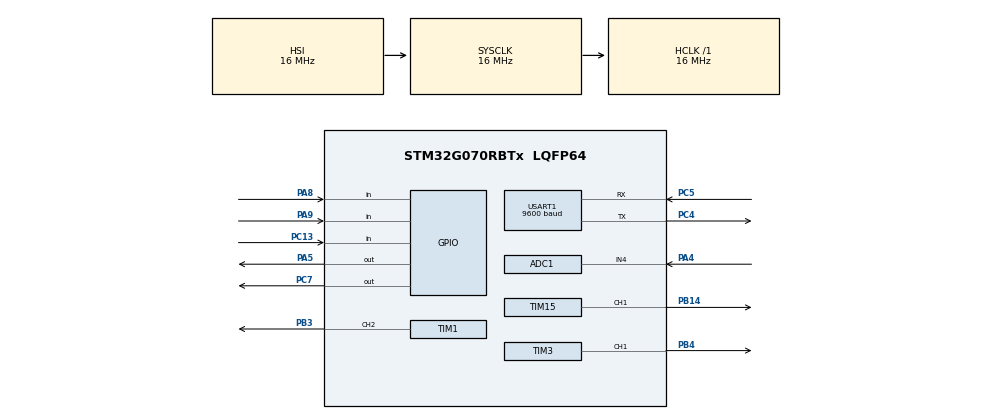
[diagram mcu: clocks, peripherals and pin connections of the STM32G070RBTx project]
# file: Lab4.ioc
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ADC1.Channel-0\#ChannelRegularConversion=ADC_CHANNEL_4
ADC1.NbrOfConversionFlag=1
ADC1.Rank-0\#ChannelRegularConversion=1
ADC1.SamplingTime-0\#ChannelRegularConversion=ADC_SAMPLINGTIME_COMMON_1
ADC1.SelectedChannel=ADC_CHANNEL_4
ADC1.master=1
Mcu.Family=STM32G0
Mcu.Name=STM32G070RBTx
Mcu.Package=LQFP64
NVIC.ADC1_IRQn=true\:0\:0\:false\:false\:true\:true\:true
NVIC.USART1_IRQn=true\:0\:0\:false\:false\:true\:true\:true
PA4.Mode=IN4
PA4.Signal=ADC1_IN4
PA5.Signal=GPIO_Output
PA8.Signal=GPIO_Input
PA9.Signal=GPIO_Input
PB14.Signal=S_TIM15_CH1
PB3.Signal=S_TIM1_CH2
PB4.Signal=S_TIM3_CH1
PC13.Signal=GPIO_Input
PC4.Mode=Asynchronous
PC4.Signal=USART1_TX
PC5.Mode=Asynchronous
PC5.Signal=USART1_RX
PC7.Signal=GPIO_Output
ProjectManager.HeapSize=0x200
ProjectManager.StackSize=0x400
ProjectManager.TargetToolchain=EWARM V8.32
RCC.AHBFreq_Value=16000000
RCC.CortexFreq_Value=16000000
RCC.EXTERNAL_CLOCK_VALUE=48000
RCC.HCLKFreq_Value=16000000
RCC.HSE_VALUE=8000000
RCC.HSI_VALUE=16000000
RCC.LSE_VALUE=32768
RCC.SYSCLKFreq_VALUE=16000000
RCC.VCOOutputFreq_Value=128000000
SH.S_TIM15_CH1.0=TIM15_CH1,PWM Generation1 CH1
SH.S_TIM1_CH2.0=TIM1_CH2,PWM Generation2 CH2
SH.S_TIM3_CH1.0=TIM3_CH1,PWM Generation1 CH1
TIM1.Channel-PWM\ Generation2\ CH2=TIM_CHANNEL_2
TIM15.Channel-PWM\ Generation1\ CH1=TIM_CHANNEL_1
TIM3.Channel-PWM\ Generation1\ CH1=TIM_CHANNEL_1
USART1.BaudRate=9600
USART1.VirtualMode-Asynchronous=VM_ASYNC
VP_SYS_VS_DBSignals.Mode=DisableDeadBatterySignals
VP_TIM15_VS_ClockSourceINT.Mode=Internal
VP_TIM1_VS_ClockSourceINT.Mode=Internal
VP_TIM3_VS_ClockSourceINT.Mode=Internal
board=custom

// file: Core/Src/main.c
/* USER CODE BEGIN Header */
/**
  ******************************************************************************
  * @file           : main.c
  * @brief          : Main program body
  ******************************************************************************
  * @attention
  *
  * <h2><center>&copy; Copyright (c) 2021 STMicroelectronics.
  * All rights reserved.</center></h2>
  *
  * This software component is licensed by ST under BSD 3-Clause license,
  * the "License"; You may not use this file except in compliance with the
  * License. You may obtain a copy of the License at:
  *                        opensource.org/licenses/BSD-3-Clause
  *
  ******************************************************************************
  */
/* USER CODE END Header */
#include "main.h"

/* USER CODE BEGIN Includes */
#include "KeyboardHoldRepeat.h"
#include "waveform_16.h"
#include "serial.h"
#include "serial_user.h"
#include "ASCII_numbers.h"
#include "stm32g0xx_ll_usart.h"

/* USER CODE END Includes */

/* USER CODE BEGIN PD */
#define LED_STEP                4
#define LED_OFF_STATE           3
#define LED_HALF_DUTY_VALUE     32767
/* USER CODE END PD */

ADC_HandleTypeDef hadc1;

TIM_HandleTypeDef htim1;
TIM_HandleTypeDef htim3;
TIM_HandleTypeDef htim15;

UART_HandleTypeDef huart1;

/* USER CODE BEGIN PV */
// scheduler stuff
extern uint8_t ten_mS_Flag;
extern uint8_t twentyfive_mS_Flag;
extern uint8_t hundred_mS_Flag;
extern uint8_t one_S_Flag;

// Comm interface
extern uint8_t processPacket;

// system variables
volatile uint16_t serialValue = 23;

// UI
uint8_t flashLED = false;
uint8_t buttonPushed = false;
uint16_t flashDelay = 1000;
uint16_t flashDelaySeed = 1000;
uint8_t flashAtSpeed = false;
uint16_t number = 43;
uint8_t errcode = 0;

// LED Control
TIM_OC_InitTypeDef rConfigOC = {0}; // timer 1
TIM_OC_InitTypeDef gConfigOC = {0}; // timer 3
TIM_OC_InitTypeDef bConfigOC = {0}; // timer 15

//#define LED_RAMP_TABLE half_sine_table_16_256
//#define LED_RAMP_TABLE linear_ramp_table_16_256
#define LED_RAMP_TABLE triangle_wave_table_16_256
#define R_INDEX_START 0
#define G_INDEX_START 86
#define B_INDEX_START 172
uint8_t rIndex = R_INDEX_START;
uint8_t gIndex = G_INDEX_START;
uint8_t bIndex = B_INDEX_START;
uint8_t rampRed = false;
uint8_t rampGreen = false;
uint8_t rampBlue = false;
uint8_t led_state = LED_OFF_STATE;          // Set led_state variable to be in off state upon startup
uint8_t greenPause_flag = false;
uint8_t bluePause_flag = false;
uint8_t customValue_flag = false;

uint16_t ledValue = 0;
uint16_t redValue = 0;
uint16_t greenValue = 0;
uint16_t blueValue = 0;

// Keyboard
uint8_t keyCode = NO_KEY_PRESSED;

/* USER CODE END PV */

void SystemClock_Config(void);
static void MX_GPIO_Init(void);
static void MX_ADC1_Init(void);
static void MX_TIM1_Init(void);
static void MX_TIM3_Init(void);
static void MX_TIM15_Init(void);
static void MX_USART1_UART_Init(void);
/* USER CODE BEGIN PFP */
void InitValuesPWM(void);
void SetRedLedLevel(uint16_t r_level);
void SetGreenLedLevel(uint16_t g_level);
void SetBlueLedLevel(uint16_t b_level);
/* USER CODE END PFP */

int main(void)
{

  /* MCU Configuration--------------------------------------------------------*/

  /* Reset of all peripherals, Initializes the Flash interface and the Systick. */
  HAL_Init();

  /* Configure the system clock */
  SystemClock_Config();

  /* Initialize all configured peripherals */
  MX_GPIO_Init();
  MX_ADC1_Init();
  MX_TIM1_Init();
  MX_TIM3_Init();
  MX_TIM15_Init();
  MX_USART1_UART_Init();
  /* USER CODE BEGIN 2 */
  LL_USART_EnableIT_RXNE_RXFNE(USART1);
  SendString("\r\nBongiorno!\r\n", 14, StripZeros, AddCRLF);
  //HAL_UART_Transmit(&huart1,"Mornin'!\r\n", 10, 1000);
  void InitValuesPWM(void);

  HAL_TIM_PWM_Start_IT(&htim15, TIM_CHANNEL_1);
  HAL_TIM_PWM_Start_IT(&htim3, TIM_CHANNEL_1);
  HAL_TIM_PWM_Start_IT(&htim1, TIM_CHANNEL_2);

  /* USER CODE END 2 */

  /* Infinite loop */
  /* USER CODE BEGIN WHILE */
  while (1)
  {
    //---------------------------------
    // 10mS Tasks
    if (ten_mS_Flag) {
      ten_mS_Flag = false;

    }  // end of 10mS Tasks
    //---------------------------------

    //---------------------------------
    // 25mS Tasks
    if (twentyfive_mS_Flag) {
      twentyfive_mS_Flag = false;

      keyCode = ScanKeyboard();
      DebounceKeyCode(keyCode);

      // If we've gotten a valid debounced keyCode, process it
      if (processKeyCode == true) {
        ProcessKeyCode(keyCode);
      }

    }  // end of 25mS Tasks
    //---------------------------------

    //---------------------------------
    // 100mS Tasks
    if (hundred_mS_Flag) {
      hundred_mS_Flag = false;

      HAL_ADC_Start_IT(&hadc1);

      if (rampRed == true) {
        if(customValue_flag) {SetRedLedLevel(ledValue);}
        else if(led_state == 0) {    // Normal cycling
          SetRedLedLevel(LED_RAMP_TABLE[rIndex]);
          rIndex += LED_STEP;
        }
      }

      if (rampGreen == true) {
        if(greenPause_flag == true) {SetGreenLedLevel(LED_RAMP_TABLE[gIndex]);} // Hold value if pausing LED
        else if(customValue_flag) {SetGreenLedLevel(ledValue);}
        else if(led_state == 0) {    // Normal cycling
          SetGreenLedLevel(LED_RAMP_TABLE[gIndex]);
          gIndex += LED_STEP;
        }
      }

      if (rampBlue == true) {
        if(bluePause_flag == true) {SetBlueLedLevel(LED_RAMP_TABLE[bIndex]);} // Hold value if pausing LED
        else if(customValue_flag) {SetBlueLedLevel(ledValue);}
        else if(led_state == 0) {    // Normal cycling
          SetBlueLedLevel(LED_RAMP_TABLE[bIndex]);
          bIndex += LED_STEP;
        }
      }

    }  // end of 100mS Tasks
    //---------------------------------

    //---------------------------------
    // 1 Sec Tasks
    if (one_S_Flag) {
      one_S_Flag = false;

    } // end of 1Sec Tasks
    //---------------------------------

    //---------------------------------
    // Every time through the loop

    switch(led_state){
    case 0:     // All LEDs cycling
      rampRed = true;
      rampGreen = true;
      rampBlue = true;
      break;
    case 1:     // All LEDs stop cycling
      rampRed = false;
      rampGreen = false;
      rampBlue = false;
      break;
    case 2:     // All LEDs at 50% duty cycle
      rampRed = false;
      rampGreen = false;
      rampBlue = false;
      SetRedLedLevel(32767);
      SetGreenLedLevel(32767);
      SetBlueLedLevel(32767);
      break;
    case 3:     // All LEDs off
      rampRed = false;
      rampGreen = false;
      rampBlue = false;
      SetRedLedLevel(0);
      SetGreenLedLevel(0);
      SetBlueLedLevel(0);
      break;
    default:
      break;
    }

    if (nextSerialRxIn != nextSerialRx2Proc) {
      ProcessReceiveBuffer();
    }

    if (processPacket == true) {
      processPacket = false;

      ProcessPacket();
    }
    // end Every time through the loop
    //---------------------------------

    /* USER CODE END WHILE */

  }
}

void SystemClock_Config(void)
{
  RCC_OscInitTypeDef RCC_OscInitStruct = {0};
  RCC_ClkInitTypeDef RCC_ClkInitStruct = {0};
  RCC_PeriphCLKInitTypeDef PeriphClkInit = {0};

  /** Configure the main internal regulator output voltage
  */
  HAL_PWREx_ControlVoltageScaling(PWR_REGULATOR_VOLTAGE_SCALE1);
  /** Initializes the RCC Oscillators according to the specified parameters
  * in the RCC_OscInitTypeDef structure.
  */
  RCC_OscInitStruct.OscillatorType = RCC_OSCILLATORTYPE_HSI;
  RCC_OscInitStruct.HSIState = RCC_HSI_ON;
  RCC_OscInitStruct.HSIDiv = RCC_HSI_DIV1;
  RCC_OscInitStruct.HSICalibrationValue = RCC_HSICALIBRATION_DEFAULT;
  RCC_OscInitStruct.PLL.PLLState = RCC_PLL_NONE;
  if (HAL_RCC_OscConfig(&RCC_OscInitStruct) != HAL_OK)
  {
    Error_Handler();
  }
  /** Initializes the CPU, AHB and APB buses clocks
  */
  RCC_ClkInitStruct.ClockType = RCC_CLOCKTYPE_HCLK|RCC_CLOCKTYPE_SYSCLK
                              |RCC_CLOCKTYPE_PCLK1;
  RCC_ClkInitStruct.SYSCLKSource = RCC_SYSCLKSOURCE_HSI;
  RCC_ClkInitStruct.AHBCLKDivider = RCC_SYSCLK_DIV1;
  RCC_ClkInitStruct.APB1CLKDivider = RCC_HCLK_DIV1;

  if (HAL_RCC_ClockConfig(&RCC_ClkInitStruct, FLASH_LATENCY_0) != HAL_OK)
  {
    Error_Handler();
  }
  /** Initializes the peripherals clocks
  */
  PeriphClkInit.PeriphClockSelection = RCC_PERIPHCLK_USART1|RCC_PERIPHCLK_ADC;
  PeriphClkInit.Usart1ClockSelection = RCC_USART1CLKSOURCE_PCLK1;
  PeriphClkInit.AdcClockSelection = RCC_ADCCLKSOURCE_SYSCLK;
  if (HAL_RCCEx_PeriphCLKConfig(&PeriphClkInit) != HAL_OK)
  {
    Error_Handler();
  }
}

static void MX_ADC1_Init(void)
{

  ADC_ChannelConfTypeDef sConfig = {0};

  /** Configure the global features of the ADC (Clock, Resolution, Data Alignment and number of conversion)
  */
  hadc1.Instance = ADC1;
  hadc1.Init.ClockPrescaler = ADC_CLOCK_SYNC_PCLK_DIV2;
  hadc1.Init.Resolution = ADC_RESOLUTION_12B;
  hadc1.Init.DataAlign = ADC_DATAALIGN_RIGHT;
  hadc1.Init.ScanConvMode = ADC_SCAN_DISABLE;
  hadc1.Init.EOCSelection = ADC_EOC_SINGLE_CONV;
  hadc1.Init.LowPowerAutoWait = DISABLE;
  hadc1.Init.LowPowerAutoPowerOff = DISABLE;
  hadc1.Init.ContinuousConvMode = DISABLE;
  hadc1.Init.NbrOfConversion = 1;
  hadc1.Init.DiscontinuousConvMode = DISABLE;
  hadc1.Init.ExternalTrigConv = ADC_SOFTWARE_START;
  hadc1.Init.ExternalTrigConvEdge = ADC_EXTERNALTRIGCONVEDGE_NONE;
  hadc1.Init.DMAContinuousRequests = DISABLE;
  hadc1.Init.Overrun = ADC_OVR_DATA_PRESERVED;
  hadc1.Init.SamplingTimeCommon1 = ADC_SAMPLETIME_1CYCLE_5;
  hadc1.Init.SamplingTimeCommon2 = ADC_SAMPLETIME_1CYCLE_5;
  hadc1.Init.OversamplingMode = DISABLE;
  hadc1.Init.TriggerFrequencyMode = ADC_TRIGGER_FREQ_HIGH;
  if (HAL_ADC_Init(&hadc1) != HAL_OK)
  {
    Error_Handler();
  }
  /** Configure Regular Channel
  */
  sConfig.Channel = ADC_CHANNEL_4;
  sConfig.Rank = ADC_REGULAR_RANK_1;
  sConfig.SamplingTime = ADC_SAMPLINGTIME_COMMON_1;
  if (HAL_ADC_ConfigChannel(&hadc1, &sConfig) != HAL_OK)
  {
    Error_Handler();
  }

}

static void MX_TIM1_Init(void)
{

  TIM_ClockConfigTypeDef sClockSourceConfig = {0};
  TIM_MasterConfigTypeDef sMasterConfig = {0};
  TIM_OC_InitTypeDef sConfigOC = {0};
  TIM_BreakDeadTimeConfigTypeDef sBreakDeadTimeConfig = {0};

  htim1.Instance = TIM1;
  htim1.Init.Prescaler = 0;
  htim1.Init.CounterMode = TIM_COUNTERMODE_UP;
  htim1.Init.Period = 65535;
  htim1.Init.ClockDivision = TIM_CLOCKDIVISION_DIV1;
  htim1.Init.RepetitionCounter = 0;
  htim1.Init.AutoReloadPreload = TIM_AUTORELOAD_PRELOAD_DISABLE;
  if (HAL_TIM_Base_Init(&htim1) != HAL_OK)
  {
    Error_Handler();
  }
  sClockSourceConfig.ClockSource = TIM_CLOCKSOURCE_INTERNAL;
  if (HAL_TIM_ConfigClockSource(&htim1, &sClockSourceConfig) != HAL_OK)
  {
    Error_Handler();
  }
  if (HAL_TIM_PWM_Init(&htim1) != HAL_OK)
  {
    Error_Handler();
  }
  sMasterConfig.MasterOutputTrigger = TIM_TRGO_RESET;
  sMasterConfig.MasterOutputTrigger2 = TIM_TRGO2_RESET;
  sMasterConfig.MasterSlaveMode = TIM_MASTERSLAVEMODE_DISABLE;
  if (HAL_TIMEx_MasterConfigSynchronization(&htim1, &sMasterConfig) != HAL_OK)
  {
    Error_Handler();
  }
  sConfigOC.OCMode = TIM_OCMODE_PWM1;
  sConfigOC.Pulse = 0;
  sConfigOC.OCPolarity = TIM_OCPOLARITY_HIGH;
  sConfigOC.OCNPolarity = TIM_OCNPOLARITY_HIGH;
  sConfigOC.OCFastMode = TIM_OCFAST_DISABLE;
  sConfigOC.OCIdleState = TIM_OCIDLESTATE_RESET;
  sConfigOC.OCNIdleState = TIM_OCNIDLESTATE_RESET;
  if (HAL_TIM_PWM_ConfigChannel(&htim1, &sConfigOC, TIM_CHANNEL_2) != HAL_OK)
  {
    Error_Handler();
  }
  sBreakDeadTimeConfig.OffStateRunMode = TIM_OSSR_DISABLE;
  sBreakDeadTimeConfig.OffStateIDLEMode = TIM_OSSI_DISABLE;
  sBreakDeadTimeConfig.LockLevel = TIM_LOCKLEVEL_OFF;
  sBreakDeadTimeConfig.DeadTime = 0;
  sBreakDeadTimeConfig.BreakState = TIM_BREAK_DISABLE;
  sBreakDeadTimeConfig.BreakPolarity = TIM_BREAKPOLARITY_HIGH;
  sBreakDeadTimeConfig.BreakFilter = 0;
  sBreakDeadTimeConfig.BreakAFMode = TIM_BREAK_AFMODE_INPUT;
  sBreakDeadTimeConfig.Break2State = TIM_BREAK2_DISABLE;
  sBreakDeadTimeConfig.Break2Polarity = TIM_BREAK2POLARITY_HIGH;
  sBreakDeadTimeConfig.Break2Filter = 0;
  sBreakDeadTimeConfig.Break2AFMode = TIM_BREAK_AFMODE_INPUT;
  sBreakDeadTimeConfig.AutomaticOutput = TIM_AUTOMATICOUTPUT_DISABLE;
  if (HAL_TIMEx_ConfigBreakDeadTime(&htim1, &sBreakDeadTimeConfig) != HAL_OK)
  {
    Error_Handler();
  }
  HAL_TIM_MspPostInit(&htim1);

}

static void MX_TIM3_Init(void)
{

  TIM_ClockConfigTypeDef sClockSourceConfig = {0};
  TIM_MasterConfigTypeDef sMasterConfig = {0};
  TIM_OC_InitTypeDef sConfigOC = {0};

  htim3.Instance = TIM3;
  htim3.Init.Prescaler = 0;
  htim3.Init.CounterMode = TIM_COUNTERMODE_UP;
  htim3.Init.Period = 65535;
  htim3.Init.ClockDivision = TIM_CLOCKDIVISION_DIV1;
  htim3.Init.AutoReloadPreload = TIM_AUTORELOAD_PRELOAD_DISABLE;
  if (HAL_TIM_Base_Init(&htim3) != HAL_OK)
  {
    Error_Handler();
  }
  sClockSourceConfig.ClockSource = TIM_CLOCKSOURCE_INTERNAL;
  if (HAL_TIM_ConfigClockSource(&htim3, &sClockSourceConfig) != HAL_OK)
  {
    Error_Handler();
  }
  if (HAL_TIM_PWM_Init(&htim3) != HAL_OK)
  {
    Error_Handler();
  }
  sMasterConfig.MasterOutputTrigger = TIM_TRGO_RESET;
  sMasterConfig.MasterSlaveMode = TIM_MASTERSLAVEMODE_DISABLE;
  if (HAL_TIMEx_MasterConfigSynchronization(&htim3, &sMasterConfig) != HAL_OK)
  {
    Error_Handler();
  }
  sConfigOC.OCMode = TIM_OCMODE_PWM1;
  sConfigOC.Pulse = 0;
  sConfigOC.OCPolarity = TIM_OCPOLARITY_HIGH;
  sConfigOC.OCFastMode = TIM_OCFAST_DISABLE;
  if (HAL_TIM_PWM_ConfigChannel(&htim3, &sConfigOC, TIM_CHANNEL_1) != HAL_OK)
  {
    Error_Handler();
  }
  HAL_TIM_MspPostInit(&htim3);

}

static void MX_TIM15_Init(void)
{

  TIM_ClockConfigTypeDef sClockSourceConfig = {0};
  TIM_MasterConfigTypeDef sMasterConfig = {0};
  TIM_OC_InitTypeDef sConfigOC = {0};
  TIM_BreakDeadTimeConfigTypeDef sBreakDeadTimeConfig = {0};

  htim15.Instance = TIM15;
  htim15.Init.Prescaler = 0;
  htim15.Init.CounterMode = TIM_COUNTERMODE_UP;
  htim15.Init.Period = 65535;
  htim15.Init.ClockDivision = TIM_CLOCKDIVISION_DIV1;
  htim15.Init.RepetitionCounter = 0;
  htim15.Init.AutoReloadPreload = TIM_AUTORELOAD_PRELOAD_DISABLE;
  if (HAL_TIM_Base_Init(&htim15) != HAL_OK)
  {
    Error_Handler();
  }
  sClockSourceConfig.ClockSource = TIM_CLOCKSOURCE_INTERNAL;
  if (HAL_TIM_ConfigClockSource(&htim15, &sClockSourceConfig) != HAL_OK)
  {
    Error_Handler();
  }
  if (HAL_TIM_PWM_Init(&htim15) != HAL_OK)
  {
    Error_Handler();
  }
  sMasterConfig.MasterOutputTrigger = TIM_TRGO_RESET;
  sMasterConfig.MasterSlaveMode = TIM_MASTERSLAVEMODE_DISABLE;
  if (HAL_TIMEx_MasterConfigSynchronization(&htim15, &sMasterConfig) != HAL_OK)
  {
    Error_Handler();
  }
  sConfigOC.OCMode = TIM_OCMODE_PWM1;
  sConfigOC.Pulse = 0;
  sConfigOC.OCPolarity = TIM_OCPOLARITY_HIGH;
  sConfigOC.OCNPolarity = TIM_OCNPOLARITY_HIGH;
  sConfigOC.OCFastMode = TIM_OCFAST_DISABLE;
  sConfigOC.OCIdleState = TIM_OCIDLESTATE_RESET;
  sConfigOC.OCNIdleState = TIM_OCNIDLESTATE_RESET;
  if (HAL_TIM_PWM_ConfigChannel(&htim15, &sConfigOC, TIM_CHANNEL_1) != HAL_OK)
  {
    Error_Handler();
  }
  sBreakDeadTimeConfig.OffStateRunMode = TIM_OSSR_DISABLE;
  sBreakDeadTimeConfig.OffStateIDLEMode = TIM_OSSI_DISABLE;
  sBreakDeadTimeConfig.LockLevel = TIM_LOCKLEVEL_OFF;
  sBreakDeadTimeConfig.DeadTime = 0;
  sBreakDeadTimeConfig.BreakState = TIM_BREAK_DISABLE;
  sBreakDeadTimeConfig.BreakPolarity = TIM_BREAKPOLARITY_HIGH;
  sBreakDeadTimeConfig.BreakFilter = 0;
  sBreakDeadTimeConfig.AutomaticOutput = TIM_AUTOMATICOUTPUT_DISABLE;
  if (HAL_TIMEx_ConfigBreakDeadTime(&htim15, &sBreakDeadTimeConfig) != HAL_OK)
  {
    Error_Handler();
  }
  HAL_TIM_MspPostInit(&htim15);

}

static void MX_USART1_UART_Init(void)
{

  huart1.Instance = USART1;
  huart1.Init.BaudRate = 9600;
  huart1.Init.WordLength = UART_WORDLENGTH_8B;
  huart1.Init.StopBits = UART_STOPBITS_1;
  huart1.Init.Parity = UART_PARITY_NONE;
  huart1.Init.Mode = UART_MODE_TX_RX;
  huart1.Init.HwFlowCtl = UART_HWCONTROL_NONE;
  huart1.Init.OverSampling = UART_OVERSAMPLING_16;
  huart1.Init.OneBitSampling = UART_ONE_BIT_SAMPLE_DISABLE;
  huart1.Init.ClockPrescaler = UART_PRESCALER_DIV1;
  huart1.AdvancedInit.AdvFeatureInit = UART_ADVFEATURE_NO_INIT;
  if (HAL_UART_Init(&huart1) != HAL_OK)
  {
    Error_Handler();
  }
  if (HAL_UARTEx_SetTxFifoThreshold(&huart1, UART_TXFIFO_THRESHOLD_1_8) != HAL_OK)
  {
    Error_Handler();
  }
  if (HAL_UARTEx_SetRxFifoThreshold(&huart1, UART_RXFIFO_THRESHOLD_1_8) != HAL_OK)
  {
    Error_Handler();
  }
  if (HAL_UARTEx_DisableFifoMode(&huart1) != HAL_OK)
  {
    Error_Handler();
  }

}

static void MX_GPIO_Init(void)
{
  GPIO_InitTypeDef GPIO_InitStruct = {0};

  /* GPIO Ports Clock Enable */
  __HAL_RCC_GPIOC_CLK_ENABLE();
  __HAL_RCC_GPIOA_CLK_ENABLE();
  __HAL_RCC_GPIOB_CLK_ENABLE();

  /*Configure GPIO pin Output Level */
  HAL_GPIO_WritePin(GPIOA, GPIO_PIN_5, GPIO_PIN_RESET);

  /*Configure GPIO pin Output Level */
  HAL_GPIO_WritePin(GPIOC, GPIO_PIN_7, GPIO_PIN_RESET);

  /*Configure GPIO pin : PC13 */
  GPIO_InitStruct.Pin = GPIO_PIN_13;
  GPIO_InitStruct.Mode = GPIO_MODE_INPUT;
  GPIO_InitStruct.Pull = GPIO_NOPULL;
  HAL_GPIO_Init(GPIOC, &GPIO_InitStruct);

  /*Configure GPIO pin : PA5 */
  GPIO_InitStruct.Pin = GPIO_PIN_5;
  GPIO_InitStruct.Mode = GPIO_MODE_OUTPUT_PP;
  GPIO_InitStruct.Pull = GPIO_NOPULL;
  GPIO_InitStruct.Speed = GPIO_SPEED_FREQ_LOW;
  HAL_GPIO_Init(GPIOA, &GPIO_InitStruct);

  /*Configure GPIO pins : PA8 PA9 */
  GPIO_InitStruct.Pin = GPIO_PIN_8|GPIO_PIN_9;
  GPIO_InitStruct.Mode = GPIO_MODE_INPUT;
  GPIO_InitStruct.Pull = GPIO_NOPULL;
  HAL_GPIO_Init(GPIOA, &GPIO_InitStruct);

  /*Configure GPIO pin : PC7 */
  GPIO_InitStruct.Pin = GPIO_PIN_7;
  GPIO_InitStruct.Mode = GPIO_MODE_OUTPUT_PP;
  GPIO_InitStruct.Pull = GPIO_NOPULL;
  GPIO_InitStruct.Speed = GPIO_SPEED_FREQ_LOW;
  HAL_GPIO_Init(GPIOC, &GPIO_InitStruct);

}

/* USER CODE BEGIN 4 */
void InitValuesPWM(void)
{
  // timer 1
  rConfigOC.OCMode = TIM_OCMODE_PWM1;
  rConfigOC.Pulse = 0;
  rConfigOC.OCPolarity = TIM_OCPOLARITY_HIGH;
  rConfigOC.OCNPolarity = TIM_OCNPOLARITY_HIGH;
  rConfigOC.OCFastMode = TIM_OCFAST_DISABLE;
  rConfigOC.OCIdleState = TIM_OCIDLESTATE_RESET;
  rConfigOC.OCNIdleState = TIM_OCNIDLESTATE_RESET;

  // timer 3
  gConfigOC.OCMode = TIM_OCMODE_PWM1;
  gConfigOC.Pulse = 0;
  gConfigOC.OCPolarity = TIM_OCPOLARITY_HIGH;
  gConfigOC.OCFastMode = TIM_OCFAST_DISABLE;

  // timer 15
  bConfigOC.OCMode = TIM_OCMODE_PWM1;
  bConfigOC.Pulse = 0;
  bConfigOC.OCPolarity = TIM_OCPOLARITY_HIGH;
  bConfigOC.OCNPolarity = TIM_OCNPOLARITY_HIGH;
  bConfigOC.OCFastMode = TIM_OCFAST_DISABLE;
  bConfigOC.OCIdleState = TIM_OCIDLESTATE_RESET;
  bConfigOC.OCNIdleState = TIM_OCNIDLESTATE_RESET;

}

void SetRedLedLevel(uint16_t r_level)
{
  TIM_OC_InitTypeDef sConfigOC = {0};
  redValue = r_level;

  sConfigOC.OCMode = TIM_OCMODE_PWM1;
  sConfigOC.Pulse = r_level;
  sConfigOC.OCPolarity = TIM_OCPOLARITY_HIGH;
  sConfigOC.OCNPolarity = TIM_OCNPOLARITY_HIGH;
  sConfigOC.OCFastMode = TIM_OCFAST_DISABLE;
  sConfigOC.OCIdleState = TIM_OCIDLESTATE_RESET;
  sConfigOC.OCNIdleState = TIM_OCNIDLESTATE_RESET;

  HAL_TIM_PWM_Stop(&htim15, TIM_CHANNEL_1);
  HAL_TIM_PWM_ConfigChannel(&htim15, &sConfigOC, TIM_CHANNEL_1);
  HAL_TIM_PWM_Start(&htim15, TIM_CHANNEL_1);
}

void SetBlueLedLevel(uint16_t b_level)
{
  TIM_OC_InitTypeDef sConfigOC = {0};
  blueValue = b_level;

  sConfigOC.OCMode = TIM_OCMODE_PWM1;
  sConfigOC.Pulse = b_level;
  sConfigOC.OCPolarity = TIM_OCPOLARITY_HIGH;
  sConfigOC.OCNPolarity = TIM_OCNPOLARITY_HIGH;
  sConfigOC.OCFastMode = TIM_OCFAST_DISABLE;
  sConfigOC.OCIdleState = TIM_OCIDLESTATE_RESET;
  sConfigOC.OCNIdleState = TIM_OCNIDLESTATE_RESET;

  HAL_TIM_PWM_Stop(&htim1, TIM_CHANNEL_2);
  HAL_TIM_PWM_ConfigChannel(&htim1, &sConfigOC, TIM_CHANNEL_2);
  HAL_TIM_PWM_Start(&htim1, TIM_CHANNEL_2);
}

void SetGreenLedLevel(uint16_t g_level)
{
  TIM_OC_InitTypeDef sConfigOC = {0};
  greenValue = g_level;

  sConfigOC.OCMode = TIM_OCMODE_PWM1;
  sConfigOC.Pulse = g_level;
  sConfigOC.OCPolarity = TIM_OCPOLARITY_HIGH;
  sConfigOC.OCFastMode = TIM_OCFAST_DISABLE;

  HAL_TIM_PWM_Stop(&htim3, TIM_CHANNEL_1);
  HAL_TIM_PWM_ConfigChannel(&htim3, &sConfigOC, TIM_CHANNEL_1);
  HAL_TIM_PWM_Start(&htim3, TIM_CHANNEL_1);
}

/* USER CODE END 4 */

void Error_Handler(void)
{
  __disable_irq();
  while (1)
  {
  }
}

/************************ (C) COPYRIGHT STMicroelectronics *****END OF FILE****/
